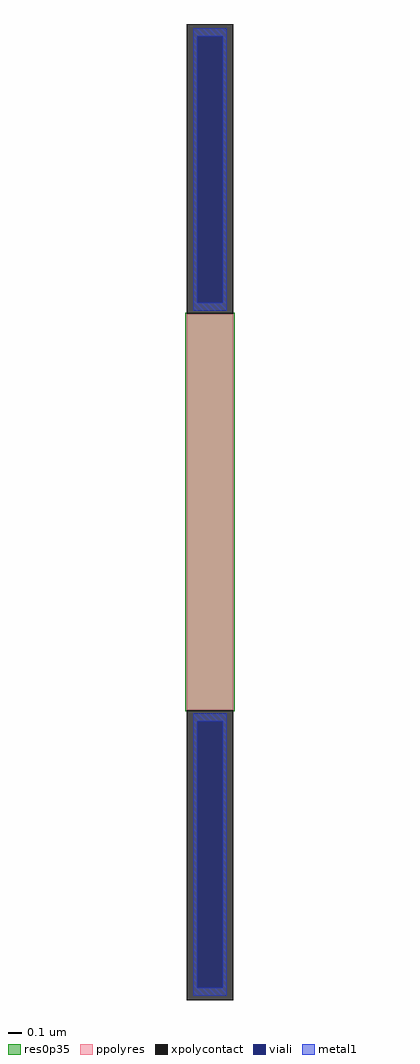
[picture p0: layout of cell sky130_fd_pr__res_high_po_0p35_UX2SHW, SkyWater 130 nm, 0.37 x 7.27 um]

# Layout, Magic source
magic
tech sky130A
magscale 1 2
<< xpolycontact >>
rect -35 295 35 727
rect -35 -727 35 -295
<< ppolyres >>
rect -35 -295 35 295
<< viali >>
rect -19 312 19 709
rect -19 -709 19 -312
<< metal1 >>
rect -25 709 25 721
rect -25 312 -19 709
rect 19 312 25 709
rect -25 300 25 312
rect -25 -312 25 -300
rect -25 -709 -19 -312
rect 19 -709 25 -312
rect -25 -721 25 -709
<< res0p35 >>
rect -37 -297 37 297
<< properties >>
string gencell sky130_fd_pr__res_high_po_0p35
string parameters w 0.350 l 2.95 m 1 nx 1 wmin 0.350 lmin 0.50 rho 319.8 val 2.805k dummy 0 dw 0.0 term 19.188 sterm 0.0 caplen 0 guard 0 glc 0 grc 0 gtc 0 gbc 0 compatible {sky130_fd_pr__res_high_po_0p35  sky130_fd_pr__res_high_po_0p69 sky130_fd_pr__res_high_po_1p41  sky130_fd_pr__res_high_po_2p85 sky130_fd_pr__res_high_po_5p73} full_metal 0 wmax 0.350 vias 1 viagb 0 viagt 0 viagl 0 viagr 0
string library sky130
<< end >>
